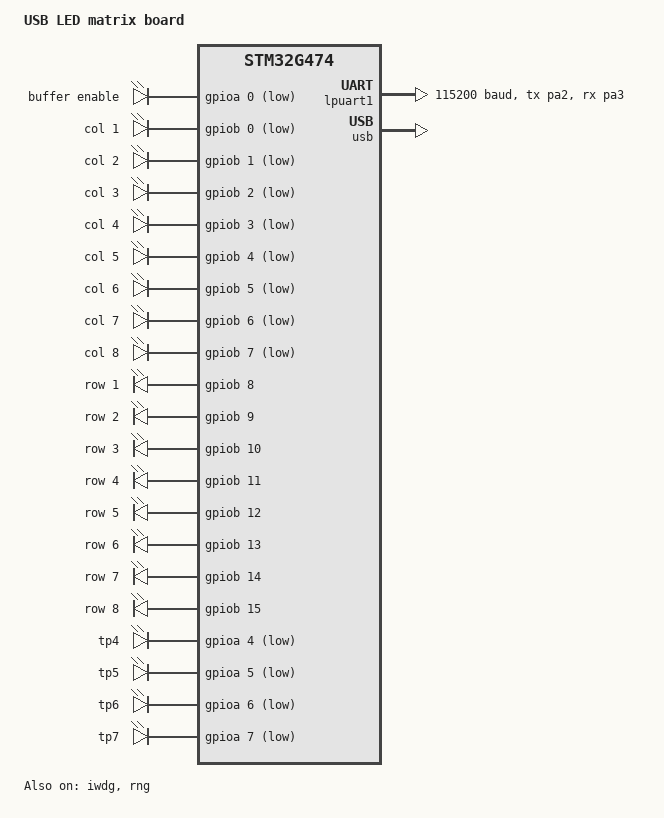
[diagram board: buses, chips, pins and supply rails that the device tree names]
/*
 * Copyright (c) 2019 STMicroelectronics.
 *
 * SPDX-License-Identifier: Apache-2.0
 */

/dts-v1/;
#include <st/g4/stm32g474Xe.dtsi>
#include <st/g4/stm32g474r(b-c-e)tx-pinctrl.dtsi>

/ {
	model = "USB LED matrix board";
	compatible = "st,stm32g474";

	chosen {
		zephyr,console = &lpuart1;
		zephyr,shell-uart = &lpuart1;
		zephyr,sram = &sram0;
		zephyr,flash = &flash0;
	};

	matrix {
		compatible = "gpio-leds";
		buffer_en {
			label = "buffer enable";
			gpios = <&gpioa 0 GPIO_ACTIVE_LOW>;
		};
		col1 {
			label = "col 1";
			gpios = <&gpiob 0 GPIO_ACTIVE_LOW>;
		};
		col2 {
			label = "col 2";
			gpios = <&gpiob 1 GPIO_ACTIVE_LOW>;
		};
		col3 {
			label = "col 3";
			gpios = <&gpiob 2 GPIO_ACTIVE_LOW>;
		};
		col4 {
			label = "col 4";
			gpios = <&gpiob 3 GPIO_ACTIVE_LOW>;
		};
		col5 {
			label = "col 5";
			gpios = <&gpiob 4 GPIO_ACTIVE_LOW>;
		};
		col6 {
			label = "col 6";
			gpios = <&gpiob 5 GPIO_ACTIVE_LOW>;
		};
		col7 {
			label = "col 7";
			gpios = <&gpiob 6 GPIO_ACTIVE_LOW>;
		};
		col8 {
			label = "col 8";
			gpios = <&gpiob 7 GPIO_ACTIVE_LOW>;
		};
		row1 {
			label = "row 1";
			gpios = <&gpiob 8 GPIO_ACTIVE_HIGH>;
		};
		row2 {
			label = "row 2";
			gpios = <&gpiob 9 GPIO_ACTIVE_HIGH>;
		};
		row3 {
			label = "row 3";
			gpios = <&gpiob 10 GPIO_ACTIVE_HIGH>;
		};
		row4 {
			label = "row 4";
			gpios = <&gpiob 11 GPIO_ACTIVE_HIGH>;
		};
		row5 {
			label = "row 5";
			gpios = <&gpiob 12 GPIO_ACTIVE_HIGH>;
		};
		row6 {
			label = "row 6";
			gpios = <&gpiob 13 GPIO_ACTIVE_HIGH>;
		};
		row7 {
			label = "row 7";
			gpios = <&gpiob 14 GPIO_ACTIVE_HIGH>;
		};
		row8 {
			label = "row 8";
			gpios = <&gpiob 15 GPIO_ACTIVE_HIGH>;
		};
	};
	
	testpoints {
		compatible = "gpio-leds";
		tp4 {
			label = "tp4";
			gpios = <&gpioa 4 GPIO_ACTIVE_LOW>;
		};
		tp5 {
			label = "tp5";
			gpios = <&gpioa 5 GPIO_ACTIVE_LOW>;
		};
		tp6 {
			label = "tp6";
			gpios = <&gpioa 6 GPIO_ACTIVE_LOW>;
		};
		tp7 {
			label = "tp7";
			gpios = <&gpioa 7 GPIO_ACTIVE_LOW>;
		};
	};
};

&lpuart1 {
	pinctrl-0 = <&lpuart1_tx_pa2 &lpuart1_rx_pa3>;
	current-speed = <115200>;
	status = "okay";
};

&usb {
	status = "okay";
};

&flash0 {
	/*
	 * For more information, see:
	 * https://docs.zephyrproject.org/latest/guides/dts/legacy-macros.html#legacy-flash-partitions
	 */
	partitions {
		compatible = "fixed-partitions";
		#address-cells = <1>;
		#size-cells = <1>;

		/* Set 2Kb of storage at the end of the 128Kb of flash */
		storage_partition: partition@1f800 {
			label = "storage";
			reg = <0x0001f800 0x00000800>;
		};
	};
};

&iwdg {
	status = "okay";
};

&rng {
	status = "okay";
};
